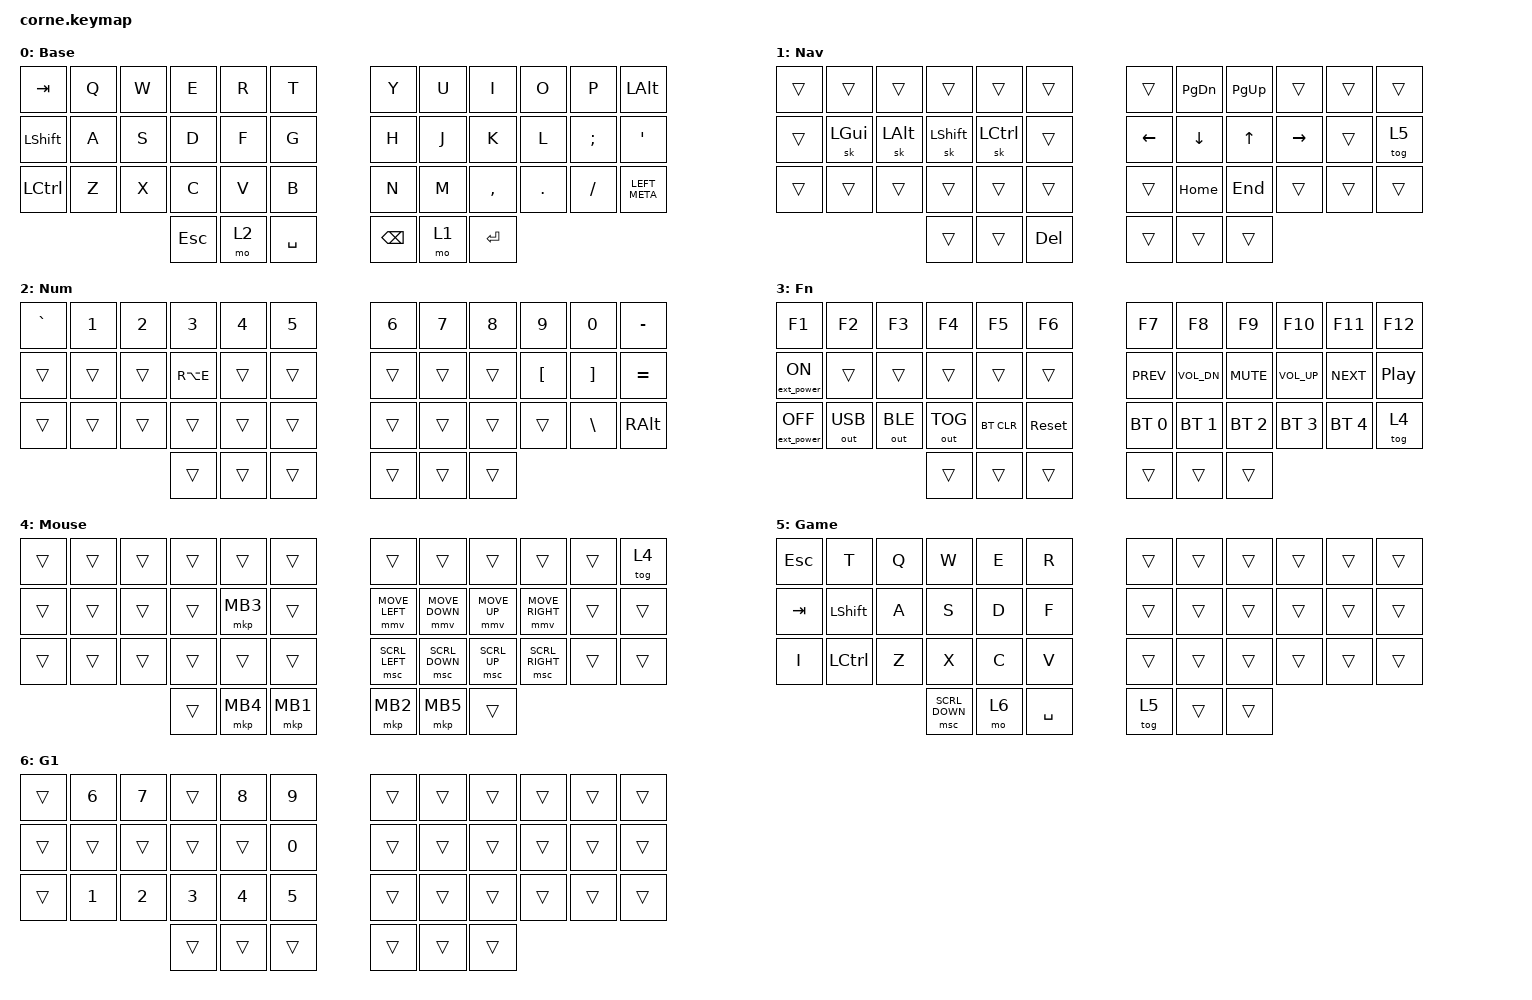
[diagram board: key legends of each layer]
/*
 * Copyright (c) 2020 The ZMK Contributors
 *
 * SPDX-License-Identifier: MIT
 */

#include <behaviors.dtsi>
#include <dt-bindings/zmk/bt.h>
#include <dt-bindings/zmk/keys.h>
#include <dt-bindings/zmk/outputs.h>
#include <dt-bindings/zmk/pointing.h>
#include <dt-bindings/zmk/ext_power.h>

/ {
    keymap {
        compatible = "zmk,keymap";

        default_layer {
            display-name = "Base";
            bindings = <
&kp TAB         &kp Q  &kp W  &kp E    &kp R  &kp T        &kp Y      &kp U     &kp I      &kp O    &kp P     &kp LEFT_ALT
&kp LEFT_SHIFT  &kp A  &kp S  &kp D    &kp F  &kp G        &kp H      &kp J     &kp K      &kp L    &kp SEMI  &kp SQT
&kp LCTRL       &kp Z  &kp X  &kp C    &kp V  &kp B        &kp N      &kp M     &kp COMMA  &kp DOT  &kp FSLH  &kp LEFT_META
                               &kp ESC  &mo 2  &kp SPACE    &kp BSPC   &mo 1     &kp ENTER
            >;
        };

        Nav {
            display-name = "Nav";
            bindings = <
&trans  &trans        &trans        &trans          &trans     &trans       &trans     &kp PG_DN  &kp PG_UP  &trans     &trans  &trans
&trans  &sk LEFT_GUI  &sk LEFT_ALT  &sk LEFT_SHIFT  &sk LCTRL  &trans       &kp LEFT   &kp DOWN   &kp UP     &kp RIGHT  &trans  &tog 5
&trans  &trans        &trans        &trans          &trans     &trans       &trans     &kp HOME   &kp END    &trans     &trans  &trans
                                    &trans          &trans     &kp DEL      &trans     &trans     &trans
            >;
        };

        Num_Sym {
            display-name = "Num";
            bindings = <
&kp GRAVE  &kp N1  &kp N2  &kp N3  &kp N4  &kp N5    &kp N6  &kp N7  &kp N8  &kp N9    &kp N0    &kp MINUS
&trans     &trans  &trans  &kp RA(E)  &trans  &trans    &trans  &trans  &trans  &kp LBKT  &kp RBKT  &kp EQUAL
&trans     &trans  &trans  &trans  &trans  &trans    &trans  &trans  &trans  &trans    &kp BSLH  &kp RALT
                                &trans    &trans     &trans       &trans     &trans    &trans
            >;
        };

        Fn {
            display-name = "Fn";
            bindings = <
&kp F1             &kp F2        &kp F3        &kp F4        &kp F5      &kp F6         &kp F7        &kp F8          &kp F9            &kp F10       &kp F11       &kp F12
&ext_power EP_ON   &trans        &trans        &trans        &trans      &trans         &kp C_PREV    &kp C_VOL_DN    &kp C_MUTE        &kp C_VOL_UP  &kp C_NEXT    &kp C_PP
&ext_power EP_OFF  &out OUT_USB  &out OUT_BLE  &out OUT_TOG  &bt BT_CLR  &sys_reset     &bt BT_SEL 0  &bt BT_SEL 1    &bt BT_SEL 2      &bt BT_SEL 3  &bt BT_SEL 4  &tog 4
                                    &trans  &trans  &trans     &trans        &trans          &trans
            >;
        };

        MouseNav {
            display-name = "Mouse";
            bindings = <
&trans  &trans  &trans  &trans  &trans    &trans      &trans          &trans          &trans        &trans           &trans  &tog 4
&trans  &trans  &trans  &trans  &mkp MB3  &trans      &mmv MOVE_LEFT  &mmv MOVE_DOWN  &mmv MOVE_UP  &mmv MOVE_RIGHT  &trans  &trans
&trans  &trans  &trans  &trans  &trans    &trans      &msc SCRL_LEFT  &msc SCRL_DOWN  &msc SCRL_UP  &msc SCRL_RIGHT  &trans  &trans
                        &trans  &mkp MB4  &mkp MB1    &mkp MB2        &mkp MB5        &trans
            >;
        };

        Gaming1 {
            display-name = "Game";
            bindings = <
&kp ESCAPE  &kp T           &kp Q  &kp W           &kp E  &kp R        &trans  &trans  &trans  &trans  &trans  &trans
&kp TAB     &kp LEFT_SHIFT  &kp A  &kp S           &kp D  &kp F        &trans  &trans  &trans  &trans  &trans  &trans
&kp I       &kp LCTRL       &kp Z  &kp X           &kp C  &kp V        &trans  &trans  &trans  &trans  &trans  &trans
                                    &msc SCRL_DOWN  &mo 6  &kp SPACE    &tog 5  &trans  &trans
            >;
        };

        GamingLayer2 {
            display-name = "G1";
            bindings = <
&trans  &kp N6  &kp N7  &trans  &kp N8  &kp N9    &trans  &trans  &trans  &trans  &trans  &trans
&trans  &trans  &trans  &trans  &trans  &kp N0    &trans  &trans  &trans  &trans  &trans  &trans
&trans  &kp N1  &kp N2  &kp N3  &kp N4  &kp N5    &trans  &trans  &trans  &trans  &trans  &trans
                        &trans  &trans  &trans    &trans  &trans  &trans
            >;
        };
    };

    conditional_layers {
        compatible = "zmk,conditional-layers";

        func_layer {
            if-layers = <1 2>;
            then-layer = <3>;
        };
    };
};
